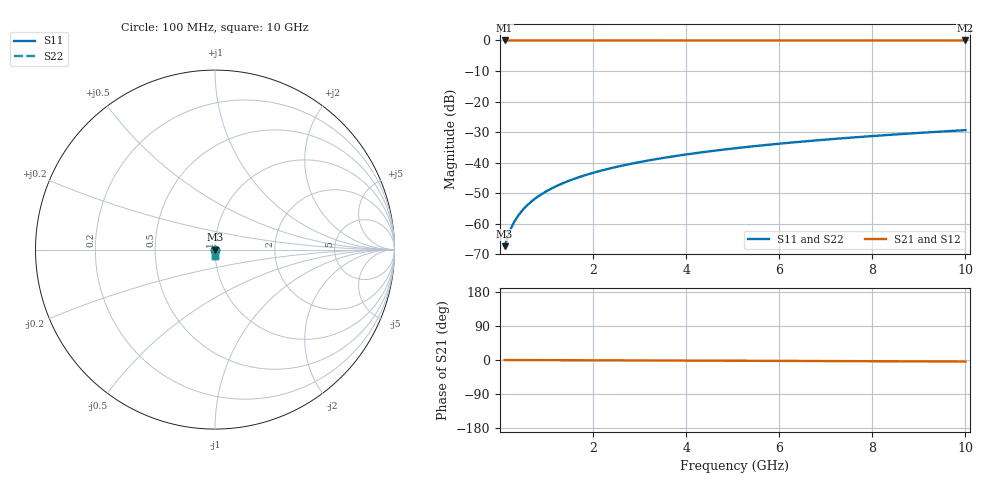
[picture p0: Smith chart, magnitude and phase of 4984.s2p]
# Hz S RI R 50.00
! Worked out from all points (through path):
!   100 points, 100 MHz to 10 GHz, reference 50 ohm
!   highest |S21| = 0.00 dB at 100 MHz (marker M1); lowest = 0.0 dB at 10 GHz (marker M2)
!   lowest |S11| = -67.3 dB at 100 MHz (marker M3), VSWR 1.00, Z = 50 - j0.0341 ohm
!   |S11| at or under -10 dB: start of sweep to end of sweep
!   |S22| runs from -67.3 to -29.3 dB; largest |S21 - S12| = 0
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1e8  0.000263 -0.000341  0.9997 -0.000698  0.9997 -0.000698  0.000263 -0.000341
2e8  0.000264 -0.000682  0.9997 -0.0014  0.9997 -0.0014  0.000264 -0.000682
3e8  0.000264 -0.00102  0.9997 -0.00209  0.9997 -0.00209  0.000264 -0.00102
4e8  0.000263 -0.00136  0.9997 -0.00279  0.9997 -0.00279  0.000263 -0.00136
5e8  0.000261 -0.0017  0.9997 -0.00349  0.9997 -0.00349  0.000261 -0.0017
6e8  0.000259 -0.00204  0.9997 -0.00419  0.9997 -0.00419  0.000259 -0.00204
7e8  0.000256 -0.00239  0.9997 -0.00488  0.9997 -0.00488  0.000256 -0.00239
8e8  0.000252 -0.00273  0.9997 -0.00558  0.9997 -0.00558  0.000252 -0.00273
9e8  0.000248 -0.00307  0.9997 -0.00628  0.9997 -0.00628  0.000248 -0.00307
1.1e9  0.000239 -0.00375  0.9997 -0.00767  0.9997 -0.00767  0.000239 -0.00375
1.4e9  0.000221 -0.00477  0.9997 -0.00977  0.9997 -0.00977  0.000221 -0.00477
1.8e9  0.000191 -0.00613  0.9996 -0.0126  0.9996 -0.0126  0.000191 -0.00613
2.1e9  0.000163 -0.00716  0.9996 -0.0147  0.9996 -0.0147  0.000163 -0.00716
2.5e9  0.000119 -0.00852  0.9995 -0.0174  0.9995 -0.0174  0.000119 -0.00852
2.9e9  6.71e-05 -0.00988  0.9994 -0.0202  0.9994 -0.0202  6.71e-05 -0.00988
3.4e9  -8.44e-06 -0.0116  0.9994 -0.0237  0.9994 -0.0237  -8.44e-06 -0.0116
4.2e9  -0.000154 -0.0143  0.9992 -0.0293  0.9992 -0.0293  -0.000154 -0.0143
5.1e9  -0.000355 -0.0174  0.9989 -0.0356  0.9989 -0.0356  -0.000355 -0.0174
5.9e9  -0.000565 -0.0201  0.9986 -0.0412  0.9986 -0.0412  -0.000565 -0.0201
6.7e9  -0.000806 -0.0228  0.9983 -0.0467  0.9983 -0.0467  -0.000806 -0.0228
8.4e9  -0.00142 -0.0286  0.9975 -0.0586  0.9975 -0.0586  -0.00142 -0.0286
1e10  -0.00212 -0.034  0.9966 -0.0697  0.9966 -0.0697  -0.00212 -0.034
